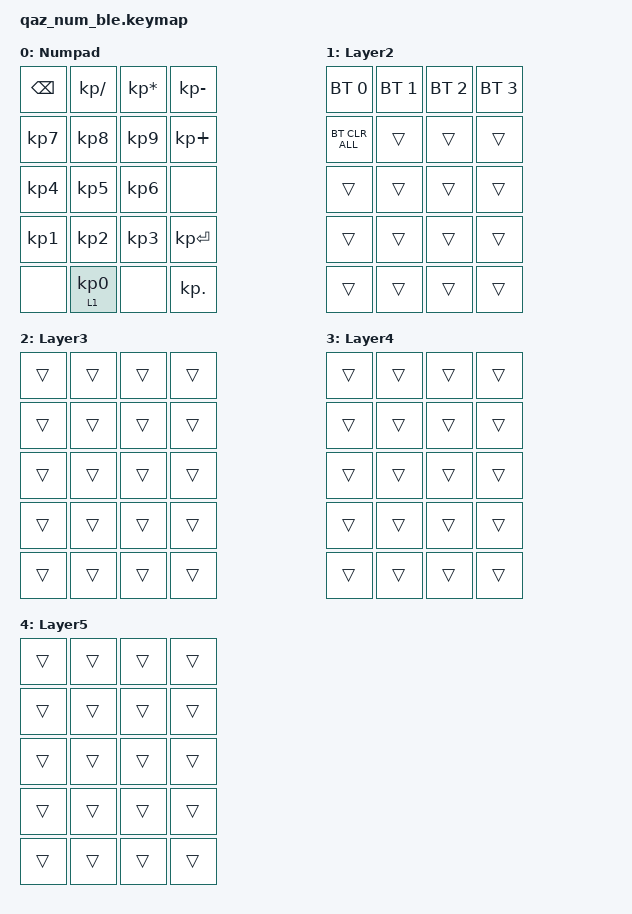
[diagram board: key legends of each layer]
#include <behaviors.dtsi>
#include <dt-bindings/zmk/bt.h>
#include <dt-bindings/zmk/keys.h>

/ {
    keymap {
        compatible = "zmk,keymap";

        default_layer {
            display-name = "Numpad";
            bindings = <
&kp BACKSPACE  &kp KP_DIVIDE  &kp KP_MULTIPLY  &kp KP_MINUS
&kp KP_N7      &kp KP_N8      &kp KP_N9        &kp KP_PLUS
&kp KP_N4      &kp KP_N5      &kp KP_N6        &none
&kp KP_N1      &kp KP_N2      &kp KP_N3        &kp KP_ENTER
&none          &lt 1 KP_N0    &none            &kp KP_DOT    // NUMBER_0 を KP_N0 に修正
            >;
        };

        layer_2 {
            display-name = "Layer2";
            bindings = <
&bt BT_SEL 0    &bt BT_SEL 1  &bt BT_SEL 2  &bt BT_SEL 3
&bt BT_CLR_ALL  &trans        &trans        &trans
&trans          &trans        &trans        &trans
&trans          &trans        &trans        &trans
&trans          &trans        &trans        &trans    // ← &transを1つ追加して4つ（計20個）に
            >;
        };

        layer_3 {
            display-name = "Layer3";
            bindings = <
&trans  &trans  &trans  &trans
&trans  &trans  &trans  &trans
&trans  &trans  &trans  &trans
&trans  &trans  &trans  &trans
&trans  &trans  &trans  &trans    // ← &transを1つ追加して4つ（計20個）に
            >;
        };

        layer_4 {
            display-name = "Layer4";
            bindings = <
&trans  &trans  &trans  &trans
&trans  &trans  &trans  &trans
&trans  &trans  &trans  &trans
&trans  &trans  &trans  &trans
&trans  &trans  &trans  &trans    // ← &transを1つ追加して4つ（計20個）に
            >;
        };

        layer_5 {
            display-name = "Layer5";
            bindings = <
&trans  &trans  &trans  &trans
&trans  &trans  &trans  &trans
&trans  &trans  &trans  &trans
&trans  &trans  &trans  &trans
&trans  &trans  &trans  &trans    // ← &transを1つ追加して4つ（計20個）に
            >;
        };
    };
};
